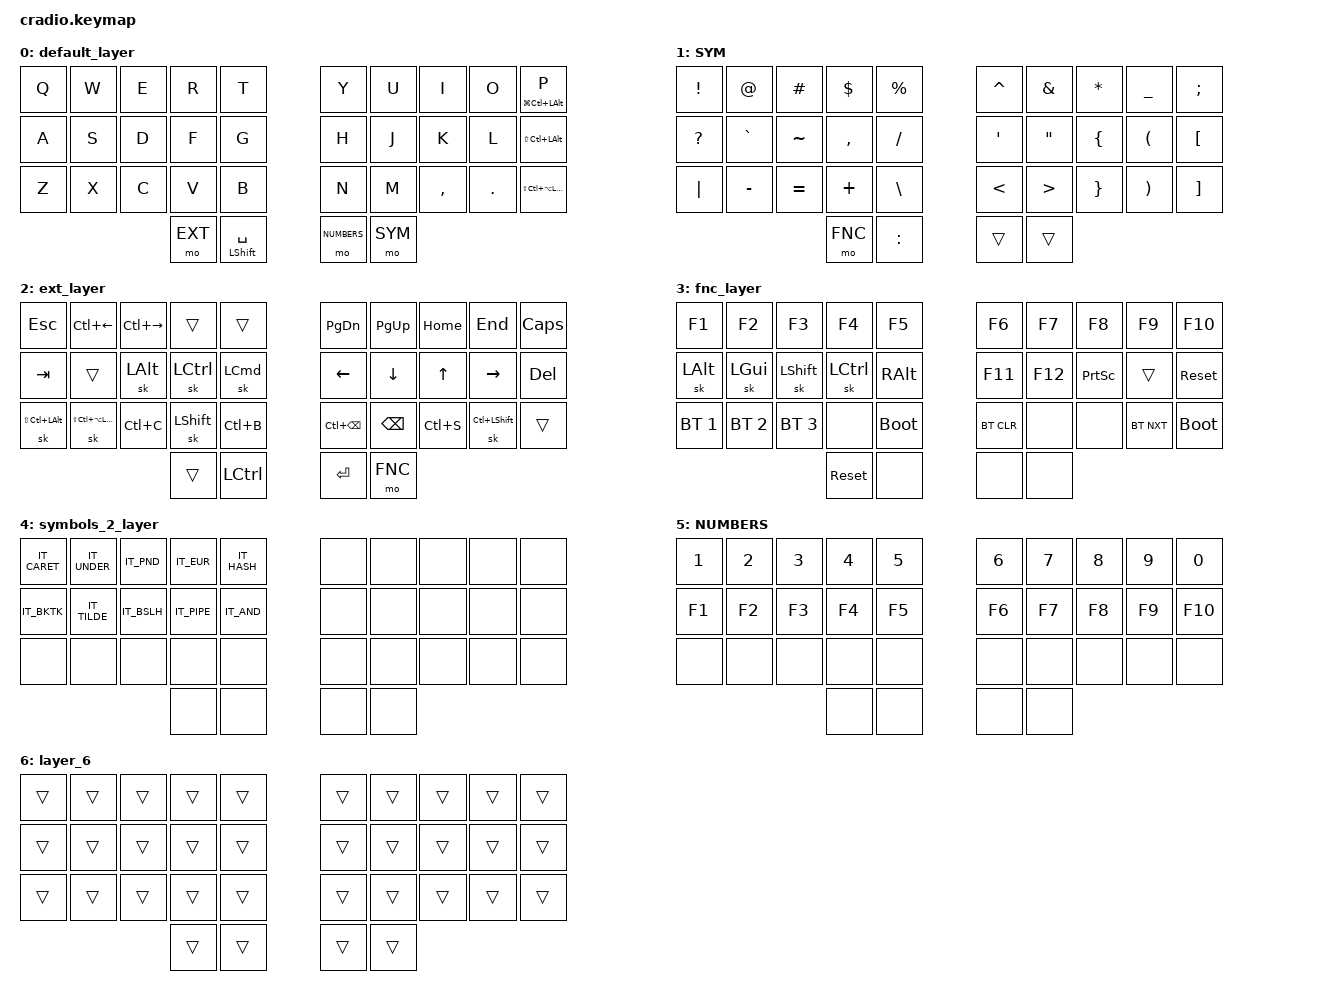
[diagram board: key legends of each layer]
/*
 * Copyright (c) 2020 The ZMK Contributors
 *
 * SPDX-License-Identifier: MIT
 */

#include "italian.keycodes"
#include "../zmk-nodefree-config/helper.h"
#include <behaviors.dtsi>
#include <dt-bindings/zmk/bt.h>
#include <dt-bindings/zmk/keys.h>

&mt {
    //  flavor = "tap-preferred";
    // tapping_term_ms = <200>;
};

#define SK(KEY) &nk KEY KEY

// Keep sticky keys active for a long time so they effectively do not time out

#define STICKY_KEY_TIMEOUT 60000
#define MASH LS(LC(LALT))
#define HYP LS(LC(LA(LGUI)))
#define ULTRA LG(LC(LALT))

#define HYPER(key) LS(LC(LA(LG(key))))

&sk {
    release-after-ms = <STICKY_KEY_TIMEOUT>;

    /delete-property/ ignore-modifiers;
};

&caps_word { continue-list = <UNDERSCORE MINUS BACKSPACE>; };

/* KEY POSITIONS
  ╭───────────────────────╮          ╭───────────────────────╮
  │      0   1   2  3   4 │          │  5   6   7   8   9    │
  │     10  11 12  13  14 │          │ 15  16  17  18  19    │
  │     20  21  22  23 24  ───╮ ╭────  25  26  27  28  29    │
  ╰─────────────────╮  30  31 │ │ 32  33 ╭───────────────────╯
                    ╰─────────╯ ╰────────╯           
*/

&mt {
    //  flavor = "tap-preferred";
    // tapping_term_ms = <200>;
};

// Layer definitions

#define BASE 0
#define SYM 1
#define EXT 2
#define FNC 3
#define SYM2 4
#define NUMBERS 5

// -----------------

/ {
    combos {
        compatible = "zmk,combos";

        // combo into Function layer

        combo_fnc {
            timeout-ms = <300>;
            key-positions = <32 33>;
            bindings = <&mo FNC>;
        };

        // combo into sym2 layer

        combo_sym2 {
            timeout-ms = <200>;
            key-positions = <31 33>;
            bindings = <&mo SYM2>;
        };

    };

    behaviors {
        // Sticky key on tap, normal key on hold
        // Useful for modifier-clicking without the modifier remaining active

        nk: not_so_sticky_key {
            compatible = "zmk,behavior-hold-tap";
            label = "NOT_SO_STICKY_KEY";
            #binding-cells = <2>;
            tapping_term_ms = <200>;
            flavor = "tap-preferred";
            bindings = <&kp>, <&sk>;
        };

        skq: sticky_key_quick_release {
            compatible = "zmk,behavior-sticky-key";
            label = "STICKY_KEY_QUICK_RELEASE";
            #binding-cells = <1>;
            bindings = <&kp>;
            quick-release;
            release-after-ms = <STICKY_KEY_TIMEOUT>;
        };
    };

    // Sticky layer + sticky shift (workaround for issue #1421)
    /* ZMK_BEHAVIOR(uc_shift, macro,
        wait-ms = <0>;
        tap-ms = <1>;
        bindings = <&macro_press &mo UC &kp LSHFT>
                 , <&macro_pause_for_release>
                 , <&macro_release &mo UC &kp LSHFT>;
    )
    ZMK_BEHAVIOR(sls, sticky_key,
        release-after-ms = <1000>;
        bindings = <&uc_shift>;
        ignore-modifiers;
    ) */

    keymap {
        compatible = "zmk,keymap";

        // Base alpha layer

        default_layer {
            bindings = <
&kp Q  &kp W  &kp E  &kp R    &kp T               &kp Y        &kp U    &kp I      &kp O    &mt ULTRA P
&kp A  &kp S  &kp D  &kp F    &kp G               &kp H        &kp J    &kp K      &kp L    &kp MASH
&kp Z  &kp X  &kp C  &kp V    &kp B               &kp N        &kp M    &kp COMMA  &kp DOT  &kp HYP
                     &mo EXT  &mt LSHIFT SPACE    &mo NUMBERS  &mo SYM
            >;
        };

        //frequency symbols

        symbols {
            label = "SYM";
            bindings = <
&kp EXCL      &kp AT     &kp HASH   &kp DLLR   &kp PRCNT    &kp CARET  &kp AMPS  &kp ASTRK  &kp UNDER  &kp SEMI
&kp QUESTION  &kp GRAVE  &kp TILDE  &kp COMMA  &kp SLASH    &kp SQT    &kp DQT   &kp LBRC   &kp LPAR   &kp LBKT
&kp PIPE      &kp MINUS  &kp EQUAL  &kp PLUS   &kp BSLH     &kp LT     &kp GT    &kp RBRC   &kp RPAR   &kp RBKT
                                    &mo FNC    &kp COLON    &trans     &trans
            >;
        };

        // Main modifiers and arrow keys

        ext_layer {
            bindings = <
&kp ESC   &kp LC(LEFT)  &kp LC(RIGHT)  &trans   &trans    &kp PG_DN     &kp PG_UP  &kp HOME   &kp END         &kp CAPS
&kp TAB   &trans     &sk LALT       &sk LCTRL   &sk LCMD     &kp LEFT      &kp DOWN   &kp UP     &kp RIGHT       &kp DEL
&sk MASH  &sk HYP       &kp LC(C)      &sk LSHIFT  &kp LC(B)    &kp LC(BSPC)  &kp BSPC   &kp LC(S)  &sk LC(LSHIFT)  &trans
                                       &trans      &kp LCTRL    &kp ENTER     &mo FNC
            >;
        };

        // Function keys with modifiers

        fnc_layer {
            bindings = <
&kp F1        &kp F2        &kp F3        &kp F4      &kp F5         &kp F6      &kp F7   &kp F8           &kp F9      &kp F10
&sk LALT      &sk LGUI      &sk LSHIFT    &sk LCTRL   &kp RALT       &kp F11     &kp F12  &kp PRINTSCREEN  &trans      &sys_reset
&bt BT_SEL 1  &bt BT_SEL 2  &bt BT_SEL 3  &none       &bootloader    &bt BT_CLR  &none    &none            &bt BT_NXT  &bootloader
                                          &sys_reset  &none          &none       &none
            >;
        };

        // Low frequency symbols.

        symbols_2_layer {
            bindings = <
&kp IT_CARET  &kp IT_UNDER  &kp IT_PND   &kp IT_EUR   &kp IT_HASH    &none  &none  &none  &none  &none
&kp IT_BKTK   &kp IT_TILDE  &kp IT_BSLH  &kp IT_PIPE  &kp IT_AND     &none  &none  &none  &none  &none
&none         &none         &none        &none        &none          &none  &none  &none  &none  &none
                                         &none        &none          &none  &none
            >;
        };

        // Used to type regional accents.

        numbers_layer {
            label = "NUMBERS";
            bindings = <
&kp N1  &kp N2  &kp N3  &kp N4  &kp N5    &kp N6  &kp N7  &kp N8  &kp N9  &kp N0
&kp F1  &kp F2  &kp F3  &kp F4  &kp F5    &kp F6  &kp F7  &kp F8  &kp F9  &kp F10
&none   &none   &none   &none   &none     &none   &none   &none   &none   &none
                        &none   &none     &none   &none
            >;
        };

        layer_6 {
            bindings = <
&trans  &trans  &trans  &trans  &trans    &trans  &trans  &trans  &trans  &trans
&trans  &trans  &trans  &trans  &trans    &trans  &trans  &trans  &trans  &trans
&trans  &trans  &trans  &trans  &trans    &trans  &trans  &trans  &trans  &trans
                        &trans  &trans    &trans  &trans
            >;
        };
    };
};
